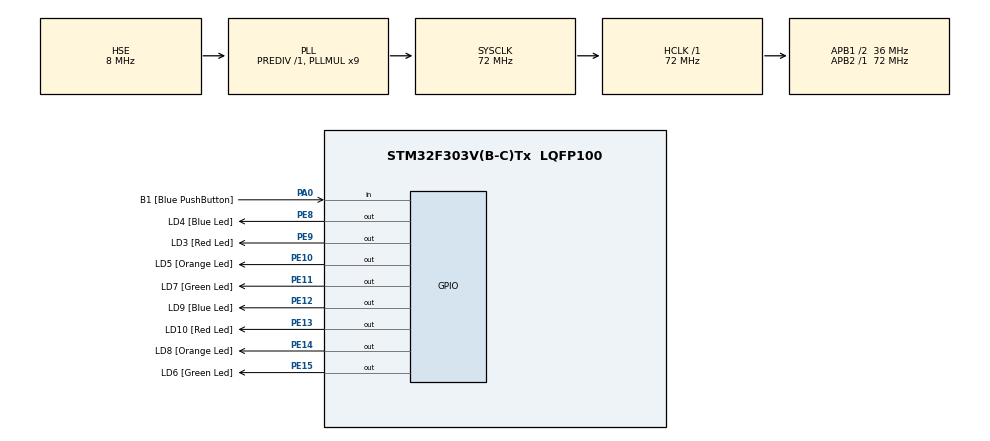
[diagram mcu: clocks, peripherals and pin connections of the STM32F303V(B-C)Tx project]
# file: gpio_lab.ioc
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Mcu.Family=STM32F3
Mcu.Name=STM32F303V(B-C)Tx
Mcu.Package=LQFP100
NVIC.PriorityGroup=NVIC_PRIORITYGROUP_0
PA0.GPIO_Label=B1 [Blue PushButton]
PA0.GPIO_Mode=GPIO_MODE_INPUT
PA0.GPIO_PuPd=GPIO_NOPULL
PA0.Signal=GPIO_Input
PA13.GPIO_Label=SWDIO
PA13.Signal=SYS_JTMS-SWDIO
PA14.GPIO_Label=SWCLK
PA14.Signal=SYS_JTCK-SWCLK
PB3.GPIO_Label=SWO
PB3.Signal=SYS_JTDO-TRACESWO
PC14-OSC32_IN.GPIO_Label=OSC32_IN
PC14-OSC32_IN.Signal=RCC_OSC32_IN
PC15-OSC32_OUT.GPIO_Label=OSC32_OUT
PC15-OSC32_OUT.Signal=RCC_OSC32_OUT
PE10.GPIO_Label=LD5 [Orange Led]
PE10.GPIO_ModeDefaultOutputPP=GPIO_MODE_OUTPUT_PP
PE10.GPIO_PuPd=GPIO_NOPULL
PE10.GPIO_Speed=GPIO_SPEED_FREQ_LOW
PE10.Signal=GPIO_Output
PE11.GPIO_Label=LD7 [Green Led]
PE11.GPIO_ModeDefaultOutputPP=GPIO_MODE_OUTPUT_PP
PE11.GPIO_PuPd=GPIO_NOPULL
PE11.GPIO_Speed=GPIO_SPEED_FREQ_LOW
PE11.Signal=GPIO_Output
PE12.GPIO_Label=LD9 [Blue Led]
PE12.GPIO_ModeDefaultOutputPP=GPIO_MODE_OUTPUT_PP
PE12.GPIO_PuPd=GPIO_NOPULL
PE12.GPIO_Speed=GPIO_SPEED_FREQ_LOW
PE12.Signal=GPIO_Output
PE13.GPIO_Label=LD10 [Red Led]
PE13.GPIO_ModeDefaultOutputPP=GPIO_MODE_OUTPUT_PP
PE13.GPIO_PuPd=GPIO_NOPULL
PE13.GPIO_Speed=GPIO_SPEED_FREQ_LOW
PE13.Signal=GPIO_Output
PE14.GPIO_Label=LD8 [Orange Led]
PE14.GPIO_ModeDefaultOutputPP=GPIO_MODE_OUTPUT_PP
PE14.GPIO_PuPd=GPIO_NOPULL
PE14.GPIO_Speed=GPIO_SPEED_FREQ_LOW
PE14.Signal=GPIO_Output
PE15.GPIO_Label=LD6 [Green Led]
PE15.GPIO_ModeDefaultOutputPP=GPIO_MODE_OUTPUT_PP
PE15.GPIO_PuPd=GPIO_NOPULL
PE15.GPIO_Speed=GPIO_SPEED_FREQ_LOW
PE15.Signal=GPIO_Output
PE8.GPIO_Label=LD4 [Blue Led]
PE8.GPIO_ModeDefaultOutputPP=GPIO_MODE_OUTPUT_PP
PE8.GPIO_PuPd=GPIO_NOPULL
PE8.GPIO_Speed=GPIO_SPEED_FREQ_LOW
PE8.Signal=GPIO_Output
PE9.GPIO_Label=LD3 [Red Led]
PE9.GPIO_ModeDefaultOutputPP=GPIO_MODE_OUTPUT_PP
PE9.GPIO_PuPd=GPIO_NOPULL
PE9.GPIO_Speed=GPIO_SPEED_FREQ_LOW
PE9.Signal=GPIO_Output
PF0-OSC_IN.GPIO_Label=OSC_IN
PF0-OSC_IN.Mode=HSE-External-Oscillator
PF0-OSC_IN.Signal=RCC_OSC_IN
PF1-OSC_OUT.GPIO_Label=OSC_OUT
PF1-OSC_OUT.Mode=HSE-External-Oscillator
PF1-OSC_OUT.Signal=RCC_OSC_OUT
ProjectManager.HeapSize=0x200
ProjectManager.StackSize=0x400
ProjectManager.TargetToolchain=Makefile
RCC.AHBFreq_Value=72000000
RCC.APB1CLKDivider=RCC_HCLK_DIV2
RCC.APB1Freq_Value=36000000
RCC.APB1TimFreq_Value=72000000
RCC.APB2Freq_Value=72000000
RCC.APB2TimFreq_Value=72000000
RCC.CortexFreq_Value=72000000
RCC.HCLKFreq_Value=72000000
RCC.HSE_VALUE=8000000
RCC.HSI_VALUE=8000000
RCC.LSE_VALUE=32768
RCC.PLLMUL=RCC_PLL_MUL9
RCC.PLLSourceVirtual=RCC_PLLSOURCE_HSE
RCC.SYSCLKFreq_VALUE=72000000
RCC.SYSCLKSourceVirtual=RCC_SYSCLKSOURCE_PLLCLK
RCC.USBFreq_Value=72000000
board=STM32F3DISCOVERY

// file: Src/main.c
/* USER CODE BEGIN Header */
/**
 ******************************************************************************
 * @file           : main.c
 * @brief          : Main program body
 ******************************************************************************
 * @attention
 *
 * Copyright (c) 2022 STMicroelectronics.
 * All rights reserved.
 *
 * This software is licensed under terms that can be found in the LICENSE file
 * in the root directory of this software component.
 * If no LICENSE file comes with this software, it is provided AS-IS.
 *
 ******************************************************************************
 */
/* USER CODE END Header */
#include "main.h"

/* USER CODE BEGIN PV */
const uint32_t CLICK_TIMEOUT = 500;
/* USER CODE END PV */

void SystemClock_Config(void);
static void MX_GPIO_Init(void);

/* USER CODE BEGIN 0 */
void led_clear()
{
  HAL_GPIO_WritePin(GPIOE, 0b11111111 << 8, GPIO_PIN_RESET);
}

uint32_t mode_update_rate(int mode)
{
  switch (mode)
  {
  case 0:
    return 50;
  case 1:
    return 140;
  case 2:
    return 50;
  }

  return 0;
}

uint32_t mode_start(int mode)
{
  led_clear();

  uint16_t mask = 0;
  switch (mode)
  {
  case 0:
    mask = 0b01100110;
    break;
  case 1:
    mask = 0b00110000;
    break;
  case 2:
    mask = 0;
    break;
  }

  HAL_GPIO_WritePin(GPIOE, mask << 8, GPIO_PIN_SET);
  return mode_update_rate(mode);
}

void led_rotate_right()
{
  uint8_t mask = (GPIOE->ODR & (0b11111111 << 8)) >> 8;
  mask = (mask << 1) | (mask >> 7);
  led_clear();
  HAL_GPIO_WritePin(GPIOE, mask << 8, GPIO_PIN_SET);
}
void led_rotate_left()
{
  uint8_t mask = (GPIOE->ODR & (0b11111111 << 8)) >> 8;
  mask = (mask >> 1) | (mask << 7);
  led_clear();
  HAL_GPIO_WritePin(GPIOE, mask << 8, GPIO_PIN_SET);
}
/* USER CODE END 0 */

int main(void)
{

  /* MCU Configuration--------------------------------------------------------*/

  /* Reset of all peripherals, Initializes the Flash interface and the Systick. */
  HAL_Init();

  /* Configure the system clock */
  SystemClock_Config();

  /* Initialize all configured peripherals */
  MX_GPIO_Init();

  /* Infinite loop */
  /* USER CODE BEGIN WHILE */
  GPIO_PinState btn_state = GPIO_PIN_RESET;
  GPIO_PinState prev_btn_state = GPIO_PIN_SET;
  uint32_t prev_click_time = 0;
  uint32_t click_count = 0;

  uint32_t update_count_down = 0;
  uint8_t mode3_counter;

  int mode = 0;
  mode_start(mode);

  while (1)
  {
    btn_state = HAL_GPIO_ReadPin(GPIOA, GPIO_PIN_0);
    int duration = HAL_GetTick() - prev_click_time;
    if (btn_state && !prev_btn_state)
    {
      click_count++;
      prev_click_time = HAL_GetTick();
    }
    else if (duration >= CLICK_TIMEOUT && click_count > 0)
    {
      mode = (click_count - 1) % 3;

      update_count_down = mode_start(mode);
      mode3_counter = 0;
      click_count = 0;
    }

    prev_btn_state = btn_state;

    if (update_count_down == 0)
    {
      if (mode == 0)
      {
        led_rotate_right();
      }
      else if (mode == 1)
      {
        led_rotate_left();
      }
      else if (mode == 2)
      {
        mode3_counter++;
        led_clear();
        HAL_GPIO_WritePin(GPIOE, mode3_counter << 8, GPIO_PIN_SET);
      }

      update_count_down = mode_update_rate(mode);
    }
    update_count_down--;
    /* USER CODE END WHILE */

    /* USER CODE BEGIN 3 */
    HAL_Delay(1);
  }
  /* USER CODE END 3 */
}

void SystemClock_Config(void)
{
  RCC_OscInitTypeDef RCC_OscInitStruct = {0};
  RCC_ClkInitTypeDef RCC_ClkInitStruct = {0};

  /** Initializes the RCC Oscillators according to the specified parameters
   * in the RCC_OscInitTypeDef structure.
   */
  RCC_OscInitStruct.OscillatorType = RCC_OSCILLATORTYPE_HSE;
  RCC_OscInitStruct.HSEState = RCC_HSE_ON;
  RCC_OscInitStruct.HSEPredivValue = RCC_HSE_PREDIV_DIV1;
  RCC_OscInitStruct.HSIState = RCC_HSI_ON;
  RCC_OscInitStruct.PLL.PLLState = RCC_PLL_ON;
  RCC_OscInitStruct.PLL.PLLSource = RCC_PLLSOURCE_HSE;
  RCC_OscInitStruct.PLL.PLLMUL = RCC_PLL_MUL9;
  if (HAL_RCC_OscConfig(&RCC_OscInitStruct) != HAL_OK)
  {
    Error_Handler();
  }
  /** Initializes the CPU, AHB and APB buses clocks
   */
  RCC_ClkInitStruct.ClockType = RCC_CLOCKTYPE_HCLK | RCC_CLOCKTYPE_SYSCLK | RCC_CLOCKTYPE_PCLK1 | RCC_CLOCKTYPE_PCLK2;
  RCC_ClkInitStruct.SYSCLKSource = RCC_SYSCLKSOURCE_PLLCLK;
  RCC_ClkInitStruct.AHBCLKDivider = RCC_SYSCLK_DIV1;
  RCC_ClkInitStruct.APB1CLKDivider = RCC_HCLK_DIV2;
  RCC_ClkInitStruct.APB2CLKDivider = RCC_HCLK_DIV1;

  if (HAL_RCC_ClockConfig(&RCC_ClkInitStruct, FLASH_LATENCY_2) != HAL_OK)
  {
    Error_Handler();
  }
}

static void MX_GPIO_Init(void)
{
  GPIO_InitTypeDef GPIO_InitStruct = {0};

  /* GPIO Ports Clock Enable */
  __HAL_RCC_GPIOC_CLK_ENABLE();
  __HAL_RCC_GPIOF_CLK_ENABLE();
  __HAL_RCC_GPIOA_CLK_ENABLE();
  __HAL_RCC_GPIOE_CLK_ENABLE();
  __HAL_RCC_GPIOB_CLK_ENABLE();

  /*Configure GPIO pin Output Level */
  HAL_GPIO_WritePin(GPIOE, LD4_Pin | LD3_Pin | LD5_Pin | LD7_Pin | LD9_Pin | LD10_Pin | LD8_Pin | LD6_Pin, GPIO_PIN_RESET);

  /*Configure GPIO pin : B1_Pin */
  GPIO_InitStruct.Pin = B1_Pin;
  GPIO_InitStruct.Mode = GPIO_MODE_INPUT;
  GPIO_InitStruct.Pull = GPIO_NOPULL;
  HAL_GPIO_Init(B1_GPIO_Port, &GPIO_InitStruct);

  /*Configure GPIO pins : LD4_Pin LD3_Pin LD5_Pin LD7_Pin
                           LD9_Pin LD10_Pin LD8_Pin LD6_Pin */
  GPIO_InitStruct.Pin = LD4_Pin | LD3_Pin | LD5_Pin | LD7_Pin | LD9_Pin | LD10_Pin | LD8_Pin | LD6_Pin;
  GPIO_InitStruct.Mode = GPIO_MODE_OUTPUT_PP;
  GPIO_InitStruct.Pull = GPIO_NOPULL;
  GPIO_InitStruct.Speed = GPIO_SPEED_FREQ_LOW;
  HAL_GPIO_Init(GPIOE, &GPIO_InitStruct);
}

void Error_Handler(void)
{
  __disable_irq();
  while (1)
  {
  }
}
